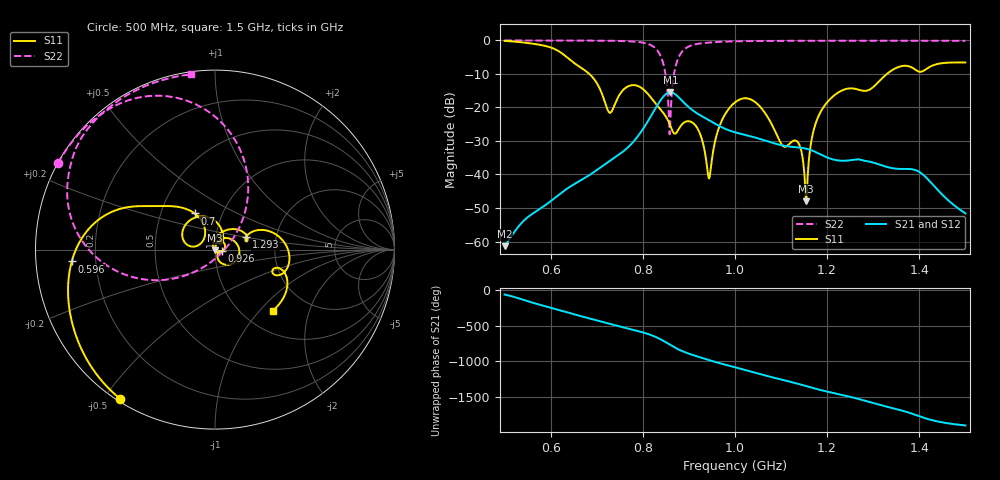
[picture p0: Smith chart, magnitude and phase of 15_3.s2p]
! TOUCHSTONE file generated by CST MICROWAVE STUDIO
! Date and time: Fri Oct 30 07:54:37 2020
! Project name: Scenario_1_Circular_Tissue_out_of_Line.cst
! Parameters = {dy1=-103.226; L_HA=400; MT=2.54; Rad_Dielectric=30; Rad_Lower=7.3; Rad_Upper=30; a_HA=580; a_WG=246; b_HA=500; b_WG=121; c_HA=0; c_WG=187; d_feed=85; dx1=520; h_feed=15; h_lower=18; h_upper=40}
! Header version: 2018
! Port assignment regex: !\s*Touchstone port\s*([0-9]+)\s*=\s*(CST MWS port|CST DS port)\s*([0-9]+|Zmin|Zmax)\s*\(\"(.*)\"\)(\s*mode\s*([0-9]+))?.*
! Touchstone port assignment:
! Touchstone port 1 = CST MWS port 1 ("")
! Touchstone port 2 = CST MWS port 2 ("")
# GHz S DB R 50
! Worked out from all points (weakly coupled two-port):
!   1001 points, 500 MHz to 1.5 GHz, reference 50 ohm
!   highest |S21| = -15.47 dB at 860 MHz (marker M1); lowest = -61.4 dB at 500 MHz (marker M2)
!   lowest |S11| = -48.0 dB at 1.154 GHz (marker M3), VSWR 1.01, Z = 49.7 - j0.296 ohm
!   |S11| at or under -10 dB: 683.8 MHz to 1.33 GHz (645.9 MHz wide, 64.2 % of centre)
!   |S22| runs from -28.0 to 0.0 dB; largest |S21 - S12| = 3.5e-05
!   S11 on the Smith chart (normalised r, x): 500 MHz: 0.01, -0.55; 596 MHz: 0.11, -0.04; 700 MHz: 0.74, +0.31; 926 MHz: 1.08, -0.02; 1.293 GHz: 1.40, +0.20; 1.5 GHz: 1.35, -1.18
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0.5  -0.13 -122.4  -61.39 -61.7  -61.39 -61.7  -0.01 151.1
0.596  -1.93 -175.3  -48.39 120.5  -48.39 120.5  -0.02 144.4
0.667  -8.26 141.2  -41.62 -7.6  -41.62 -7.6  -0.04 138.3
0.7  -12.71 119.4  -38.68 -63.4  -38.68 -63.4  -0.07 134.8
0.728  -21.59 143.5  -35.98 -112.1  -35.98 -112.1  -0.10 131.1
0.777  -13.35 139.1  -30.60 167.7  -30.60 167.7  -0.31 121.1
0.834  -19.88 65.5  -18.79 45.2  -18.79 45.2  -3.45 83.9
0.86  -25.60 44.0  -15.47 -49.7  -15.47 -49.7  -22.86 -107.3
0.879  -26.18 63.8  -17.14 -116.2  -17.14 -116.2  -4.65 -169.7
0.926  -28.55 -13.0  -22.44 134.4  -22.44 134.4  -0.89 155.4
0.944  -41.18 33.3  -23.84 98.3  -23.84 98.3  -0.64 150.3
0.966  -25.70 69.9  -25.54 56.9  -25.54 56.9  -0.44 145.7
1  -18.49 22.3  -27.42 -1.4  -27.42 -1.4  -0.27 140.3
1.04  -18.03 -37.7  -28.84 -71.4  -28.84 -71.4  -0.18 135.4
1.135  -30.15 -33.9  -31.91 129.9  -31.91 129.9  -0.11 126.7
1.154  -48.01 -131.5  -32.28 96.0  -32.29 96.0  -0.10 125.2
1.167  -29.06 104.9  -32.83 72.1  -32.83 72.1  -0.10 124.2
1.213  -16.67 51.0  -35.53 -1.1  -35.53 -1.1  -0.08 120.6
1.293  -14.60 21.8  -36.20 -131.5  -36.20 -131.5  -0.08 114.6
1.334  -9.54 16.7  -37.91 158.9  -37.91 158.9  -0.08 111.4
1.4  -9.34 -20.9  -39.24 31.8  -39.24 31.8  -0.10 106.3
1.5  -6.59 -46.7  -51.59 -97.3  -51.59 -97.3  -0.13 97.8
